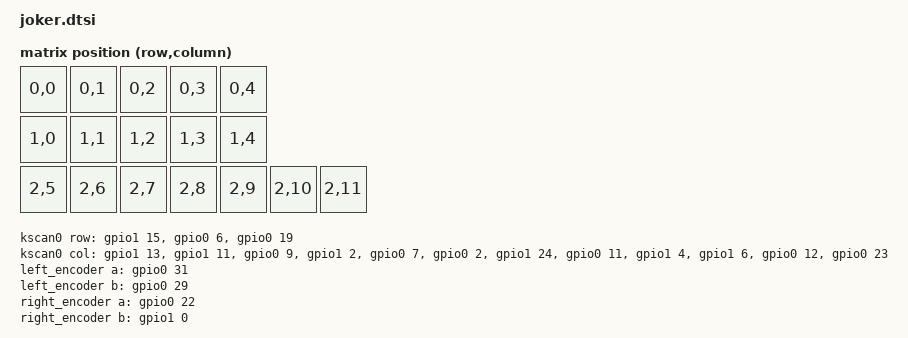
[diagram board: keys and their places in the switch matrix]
/*
 * Copyright (c) 2021 The ZMK Contributors
 *
 * SPDX-License-Identifier: MIT
 */

#include <dt-bindings/zmk/matrix_transform.h>
#include <zephyr/dt-bindings/input/input-event-codes.h>
#include <input/processors.dtsi>
#include <dt-bindings/zmk/input_transform.h>
#include <input/processors.dtsi>
#include "joker-layout.dtsi"


&joker_layout {
    transform = <&default_transform>;
};

/ {
    chosen {
        zmk,kscan = &kscan0;
        zmk,physical-layout = &joker_layout;
    };

    default_transform: keymap_transform_0 {
        compatible = "zmk,matrix-transform";
        columns = <12>;
        rows = <3>;
        map = <
RC(0,0) RC(0,1) RC(0,2) RC(0,3) RC(0,4) 
RC(1,0) RC(1,1) RC(1,2) RC(1,3) RC(1,4)
RC(2,5) RC(2,6) RC(2,7) RC(2,8) RC(2,9) RC(2,10) RC(2,11)

        >;
    };

    kscan0: kscan {
        compatible = "zmk,kscan-gpio-matrix";

        diode-direction = "col2row";
		col-gpios
			= <&gpio1 13 GPIO_ACTIVE_HIGH>
			, <&gpio1 11 GPIO_ACTIVE_HIGH>
			, <&gpio0 9 GPIO_ACTIVE_HIGH>
			, <&gpio1 2 GPIO_ACTIVE_HIGH>
			, <&gpio0 7 GPIO_ACTIVE_HIGH>
			, <&gpio0 2 GPIO_ACTIVE_HIGH>
			, <&gpio1 24 GPIO_ACTIVE_HIGH>						
			, <&gpio0 11 GPIO_ACTIVE_HIGH>
			, <&gpio1 4 GPIO_ACTIVE_HIGH>
			, <&gpio1 6 GPIO_ACTIVE_HIGH>
			, <&gpio0 12 GPIO_ACTIVE_HIGH>
			, <&gpio0 23 GPIO_ACTIVE_HIGH>
			;
		row-gpios
			= <&gpio1 15 (GPIO_ACTIVE_HIGH | GPIO_PULL_DOWN)>
			, <&gpio0 6 (GPIO_ACTIVE_HIGH | GPIO_PULL_DOWN)>
			, <&gpio0 19  (GPIO_ACTIVE_HIGH | GPIO_PULL_DOWN)>
			;

    };
    left_encoder: encoder_left {
        compatible = "alps,ec11";
	a-gpios = <&gpio0 31 (GPIO_ACTIVE_HIGH | GPIO_PULL_UP)>;
	b-gpios = <&gpio0 29 (GPIO_ACTIVE_HIGH | GPIO_PULL_UP)>;
        steps = <80>;
        status = "okay";
    };

    right_encoder: encoder_right {
        compatible = "alps,ec11";
	a-gpios = <&gpio0 22 (GPIO_ACTIVE_HIGH | GPIO_PULL_UP)>;
	b-gpios = <&gpio1 0 (GPIO_ACTIVE_HIGH | GPIO_PULL_UP)>;
        steps = <80>;
        status = "okay";
    };

    sensors: sensors {
        compatible = "zmk,keymap-sensors";
        sensors = <&left_encoder &right_encoder>;
        triggers-per-rotation = <20>;
    };
};


&pinctrl {
    spi1_default: spi1_default {
        group1 {
            psels = <NRF_PSEL(SPIM_SCK, 0, 8)>,
                <NRF_PSEL(SPIM_MOSI, 0, 17)>,
                <NRF_PSEL(SPIM_MISO, 0, 17)>;
        };
    };

    spi1_sleep: spi1_sleep {
        group1 {
            psels = <NRF_PSEL(SPIM_SCK, 0, 8)>,
                <NRF_PSEL(SPIM_MOSI, 0, 17)>,
                <NRF_PSEL(SPIM_MISO, 0, 17)>;
            low-power-enable;
        };
    };
};


&uart0 {
	status = "disabled";
};

zephyr_udc0: &usbd {
    status = "okay";
};

&spi1 {
	compatible = "nordic,nrf-spim";
	status = "okay";
    pinctrl-0 = <&spi1_default>;
	pinctrl-1 = <&spi1_sleep>;
	pinctrl-names = "default", "sleep";
	cs-gpios = <&gpio0 20 GPIO_ACTIVE_LOW>;
	pd0: pd@0 {
		compatible = "pixart,pmw3610";
		status = "okay";
		label = "TRACKBALL0";
		reg = <0>;
		spi-max-frequency = <4000000>;
	    irq-gpios = <&gpio0 10 (GPIO_ACTIVE_LOW | GPIO_PULL_UP)>;
	    cpi = <600>;
	    evt-type = <INPUT_EV_REL>;
	    x-input-code = <INPUT_REL_X>;
	    y-input-code = <INPUT_REL_Y>;
	};
};


/ {
  trackball_listener: trackball_listener {
    compatible = "zmk,input-listener";
    status = "okay";
    device = <&pd0>;
  };
}; 

